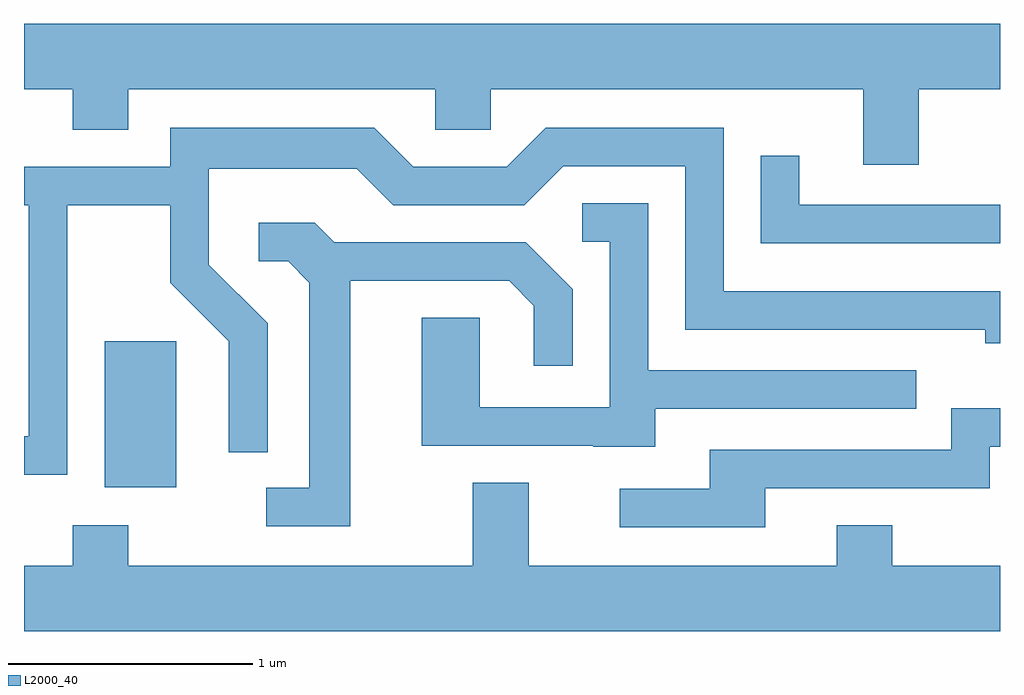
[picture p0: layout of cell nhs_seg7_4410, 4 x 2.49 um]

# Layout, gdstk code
import gdstk
lib = gdstk.Library(unit=1e-6, precision=1e-09)
def R(c, l, rs):  # rectangles x0, y0, x1, y1
    for r in rs: c.add(gdstk.rectangle(r[:2], r[2:], *l))
def P(c, l, *ps):  # polygons
    for p in ps: c.add(gdstk.Polygon(p, *l))
L2000_40 = (2000, 40)

nhs_seg7_4410 = lib.new_cell('nhs_seg7_4410')
R(nhs_seg7_4410, L2000_40, [(319.941,1801.486,320.234,1802.084)])
P(nhs_seg7_4410, L2000_40, [(323.279,1803.116),(323.611,1803.116),(323.611,1803.384),(319.611,1803.384),(319.611,1803.116),(319.811,1803.116),(319.811,1802.951),(320.039,1802.951),(320.039,1803.116),(321.296,1803.116),(321.296,1802.951),(321.524,1802.951),(321.524,1803.116),(323.051,1803.116),(323.051,1802.806),(323.279,1802.806)],
  [(319.789,1802.641),(320.211,1802.641),(320.211,1802.324),(320.451,1802.084),(320.451,1801.628),(320.609,1801.628),(320.609,1802.157),(320.369,1802.397),(320.369,1802.791),(320.974,1802.791),(321.124,1802.641),(321.662,1802.641),(321.822,1802.801),(322.321,1802.801),(322.321,1802.131),(323.551,1802.131),(323.551,1802.076),(323.611,1802.076),(323.611,1802.289),(322.479,1802.289),(322.479,1802.959),(321.749,1802.959),(321.589,1802.799),(321.207,1802.799),(321.047,1802.959),(320.211,1802.959),(320.211,1802.799),(319.611,1802.799),(319.611,1802.641),(319.631,1802.641),(319.631,1801.694),(319.611,1801.694),(319.611,1801.536),(319.789,1801.536)],
  [(323.611,1802.644),(322.789,1802.644),(322.789,1802.843),(322.631,1802.843),(322.631,1802.486),(323.611,1802.486)],
  [(322.199,1801.806),(323.268,1801.806),(323.268,1801.964),(322.169,1801.964),(322.169,1802.649),(321.898,1802.649),(321.898,1802.491),(322.011,1802.491),(322.011,1801.814),(321.479,1801.814),(321.479,1802.179),(321.241,1802.179),(321.241,1801.656),(321.945,1801.656),(321.945,1801.651),(322.199,1801.651)],
  [(320.949,1802.331),(321.599,1802.331),(321.701,1802.229),(321.701,1801.983),(321.859,1801.983),(321.859,1802.297),(321.667,1802.489),(320.882,1802.489),(320.802,1802.569),(320.573,1802.569),(320.573,1802.411),(320.694,1802.411),(320.781,1802.324),(320.781,1801.484),(320.603,1801.484),(320.603,1801.326),(320.949,1801.326)],
  [(322.649,1801.481),(323.569,1801.481),(323.569,1801.651),(323.611,1801.651),(323.611,1801.809),(323.411,1801.809),(323.411,1801.639),(322.421,1801.639),(322.421,1801.479),(322.053,1801.479),(322.053,1801.321),(322.649,1801.321)],
  [(323.611,1801.164),(323.169,1801.164),(323.169,1801.329),(322.941,1801.329),(322.941,1801.164),(321.679,1801.164),(321.679,1801.504),(321.451,1801.504),(321.451,1801.164),(320.039,1801.164),(320.039,1801.329),(319.811,1801.329),(319.811,1801.164),(319.611,1801.164),(319.611,1800.896),(323.611,1800.896)])

lib.write_gds('nhs_seg7_4410.gds')
